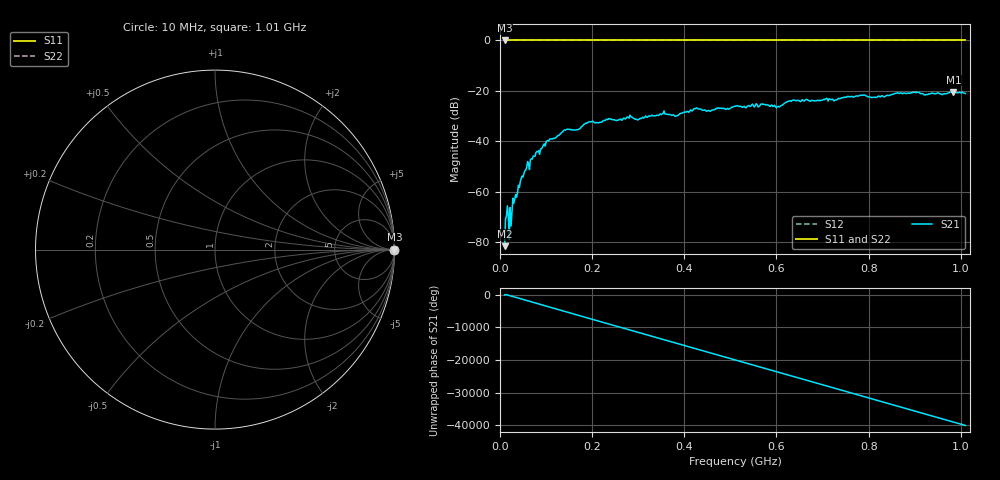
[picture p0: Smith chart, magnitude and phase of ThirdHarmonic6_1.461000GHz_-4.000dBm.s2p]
! 8/16/2025 4:58:58 PM
! C:\ANRITSUVNA\TEMP\TEMP.S2P
! CHANNEL.1
! TR.MEASUREMENT
! RAW.DATA
! RF.CORRECTION.OFF
! AVERAGING.OFF
! IF.BANDWIDTH: 5KHZ
! SWEEPTYPE:  FREQ.SWEEP(Linear)
! Reference Plane Port Info
! PORT:  PORT1  PORT2
! DISTANCE:  0  m  0  m
! TIME:  0  s  0  s
! PHASE.OFFSET:  0  deg.  0  deg.
! LOSS:  0  dB  0  dB
! REF.LOSS:  0  dB  0  dB
! REF.FREQ:  0  Hz  0  Hz
! Power Info
! POWER:  -20  dBm  -20  dBm
! EFF.POWER:  -20  dBm  -20  dBm
! SOURCE.ATTEN:  0  dB  0  dB
! TEST.ATTEN:  0  dB  0  dB
# GHZ S RI R 50.0
! FREQ.GHZ  S11RE  S11IM  S21RE  S21IM  S12RE  S12IM  S22RE  S22IM
!; PortSelection: Port_12
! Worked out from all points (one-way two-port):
!   501 points, 10 MHz to 1.01 GHz, reference 50 ohm
!   highest |S21| = -20.42 dB at 984 MHz (marker M1); lowest = -81.6 dB at 10 MHz (marker M2)
!   lowest |S11| = 0.0 dB at 10 MHz (marker M3)
!   |S11| at or under -10 dB: nowhere
!   |S22| runs from 0.0 to 0.0 dB; largest |S21 - S12| = 1.1
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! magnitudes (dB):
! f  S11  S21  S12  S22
! 10 MHz  0.0  -81.6  0.0  0.0
! 14 MHz  0.0  -69.7  0.0  0.0
! 18 MHz  0.0  -69.2  0.0  0.0
! 22 MHz  0.0  -66.3  0.0  0.0
! 30 MHz  0.0  -64.6  0.0  0.0
! 44 MHz  0.0  -56.1  0.0  0.0
! 70 MHz  0.0  -47.1  0.0  0.0
! 106 MHz  0.0  -39.7  0.0  0.0
! 142 MHz  0.0  -35.6  0.0  0.0
! 178 MHz  0.0  -34.1  0.0  0.0
! 196 MHz  0.0  -32.2  0.0  0.0
! 344 MHz  0.0  -29.8  0.0  0.0
! 382 MHz  0.0  -29.9  0.0  0.0
! 424 MHz  0.0  -27.1  0.0  0.0
! 452 MHz  0.0  -27.7  0.0  0.0
! 510 MHz  0.0  -26.1  0.0  0.0
! 602 MHz  0.0  -26.3  0.0  0.0
! 634 MHz  0.0  -23.8  0.0  0.0
! 678 MHz  0.0  -23.8  0.0  0.0
! 844 MHz  0.0  -21.9  0.0  0.0
! 984 MHz  0.0  -20.4  0.0  0.0
! 1.01 GHz  0.0  -21.0  0.0  0.0
